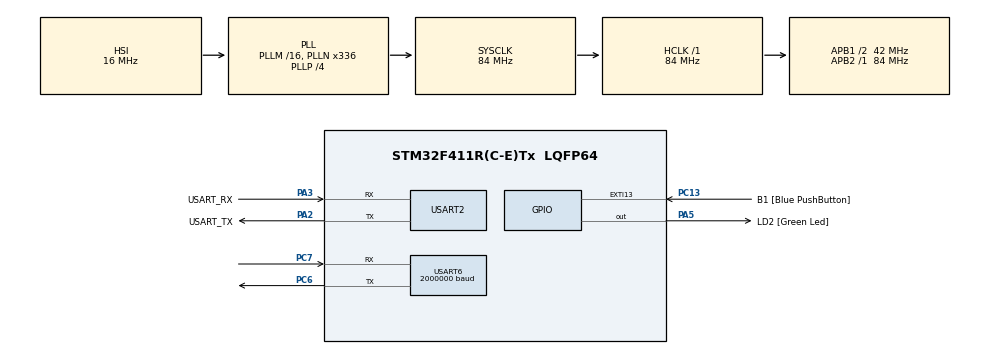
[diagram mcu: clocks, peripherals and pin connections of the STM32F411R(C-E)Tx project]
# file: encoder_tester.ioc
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Mcu.Family=STM32F4
Mcu.Name=STM32F411R(C-E)Tx
Mcu.Package=LQFP64
NVIC.PriorityGroup=NVIC_PRIORITYGROUP_0
PA13.GPIO_Label=TMS
PA13.Mode=Serial_Wire
PA13.Signal=SYS_JTMS-SWDIO
PA14.GPIO_Label=TCK
PA14.Mode=Serial_Wire
PA14.Signal=SYS_JTCK-SWCLK
PA2.GPIO_Label=USART_TX
PA2.Mode=Asynchronous
PA2.Signal=USART2_TX
PA3.GPIO_Label=USART_RX
PA3.Mode=Asynchronous
PA3.Signal=USART2_RX
PA5.GPIO_Label=LD2 [Green Led]
PA5.Signal=GPIO_Output
PB3.GPIO_Label=SWO
PB3.Signal=SYS_JTDO-SWO
PC13-ANTI_TAMP.GPIO_Label=B1 [Blue PushButton]
PC13-ANTI_TAMP.GPIO_ModeDefaultEXTI=GPIO_MODE_IT_FALLING
PC13-ANTI_TAMP.Signal=GPXTI13
PC14-OSC32_IN.Mode=LSE-External-Oscillator
PC14-OSC32_IN.Signal=RCC_OSC32_IN
PC15-OSC32_OUT.Mode=LSE-External-Oscillator
PC15-OSC32_OUT.Signal=RCC_OSC32_OUT
PC6.Mode=Asynchronous
PC6.Signal=USART6_TX
PC7.Mode=Asynchronous
PC7.Signal=USART6_RX
PH0\ -\ OSC_IN.Mode=HSE-External-Clock-Source
PH0\ -\ OSC_IN.Signal=RCC_OSC_IN
PH1\ -\ OSC_OUT.Mode=HSE-External-Clock-Source
PH1\ -\ OSC_OUT.Signal=RCC_OSC_OUT
ProjectManager.HeapSize=0x200
ProjectManager.StackSize=0x400
ProjectManager.TargetToolchain=STM32CubeIDE
RCC.48MHZClocksFreq_Value=84000000
RCC.AHBFreq_Value=84000000
RCC.APB1CLKDivider=RCC_HCLK_DIV2
RCC.APB1Freq_Value=42000000
RCC.APB1TimFreq_Value=84000000
RCC.APB2Freq_Value=84000000
RCC.APB2TimFreq_Value=84000000
RCC.CortexFreq_Value=84000000
RCC.FLatency-AdvancedSettings=FLASH_LATENCY_2
RCC.HCLKFreq_Value=84000000
RCC.HSE_VALUE=8000000
RCC.HSI_VALUE=16000000
RCC.PLLN=336
RCC.PLLP=RCC_PLLP_DIV4
RCC.SYSCLKFreq_VALUE=84000000
RCC.SYSCLKSource=RCC_SYSCLKSOURCE_PLLCLK
RCC.VCOOutputFreq_Value=336000000
USART2.VirtualMode=VM_ASYNC
USART6.BaudRate=2000000
USART6.VirtualMode=VM_ASYNC
board=NUCLEO-F411RE

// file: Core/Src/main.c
/* USER CODE BEGIN Header */
/**
  ******************************************************************************
  * @file           : main.c
  * @brief          : Main program body
  ******************************************************************************
  * @attention
  *
  * Copyright (c) 2022 STMicroelectronics.
  * All rights reserved.
  *
  * This software is licensed under terms that can be found in the LICENSE file
  * in the root directory of this software component.
  * If no LICENSE file comes with this software, it is provided AS-IS.
  *
  ******************************************************************************
  */
/* USER CODE END Header */
#include "main.h"

/* USER CODE BEGIN Includes */
#include "stdio.h"
#include "AMT21.h"
/* USER CODE END Includes */

UART_HandleTypeDef huart2;
UART_HandleTypeDef huart6;

void SystemClock_Config(void);
static void MX_GPIO_Init(void);
static void MX_USART2_UART_Init(void);
static void MX_USART6_UART_Init(void);

/* USER CODE BEGIN 0 */
#ifdef __GNUC__
/* With GCC, small printf (option LD Linker->Libraries->Small printf
 set to 'Yes') calls __io_putchar() */
#define PUTCHAR_PROTOTYPE int __io_putchar(int ch)
#else
#define PUTCHAR_PROTOTYPE int fputc(int ch, FILE *f)
#endif /* __GNUC__ */

PUTCHAR_PROTOTYPE {
  /* Place your implementation of fputc here */
  /* e.g. write a character to the EVAL_COM1 and Loop until the end of transmission */
  HAL_UART_Transmit(&huart2, (uint8_t *) &ch, 1, 1);

  return ch;
}
uint8_t data[2] = {0};
uint64_t err_count = 0;
/* USER CODE END 0 */

int main(void)
{

  /* MCU Configuration--------------------------------------------------------*/

  /* Reset of all peripherals, Initializes the Flash interface and the Systick. */
  HAL_Init();

  /* Configure the system clock */
  SystemClock_Config();

  /* Initialize all configured peripherals */
  MX_GPIO_Init();
  MX_USART2_UART_Init();
  MX_USART6_UART_Init();
  /* USER CODE BEGIN 2 */
  AMT21 encoder_1;
  AMT21_initialise(&encoder_1, &huart6, 0xF0, LD2_GPIO_Port, LD2_Pin);
  /* USER CODE END 2 */

  /* Infinite loop */
  /* USER CODE BEGIN WHILE */
  while (1)
  {
	  AMT21_read_value(&encoder_1);
	  HAL_StatusTypeDef rep = AMT21_check_value(&encoder_1);
	  if (rep == HAL_ERROR){
		  err_count++;
	  }
	  else {
		  printf("encoder value = %d %d\n", encoder_1.position, err_count);
	  }
    /* USER CODE END WHILE */

  }
}

void SystemClock_Config(void)
{
  RCC_OscInitTypeDef RCC_OscInitStruct = {0};
  RCC_ClkInitTypeDef RCC_ClkInitStruct = {0};

  /** Configure the main internal regulator output voltage
  */
  __HAL_RCC_PWR_CLK_ENABLE();
  __HAL_PWR_VOLTAGESCALING_CONFIG(PWR_REGULATOR_VOLTAGE_SCALE1);
  /** Initializes the RCC Oscillators according to the specified parameters
  * in the RCC_OscInitTypeDef structure.
  */
  RCC_OscInitStruct.OscillatorType = RCC_OSCILLATORTYPE_HSI;
  RCC_OscInitStruct.HSIState = RCC_HSI_ON;
  RCC_OscInitStruct.HSICalibrationValue = RCC_HSICALIBRATION_DEFAULT;
  RCC_OscInitStruct.PLL.PLLState = RCC_PLL_ON;
  RCC_OscInitStruct.PLL.PLLSource = RCC_PLLSOURCE_HSI;
  RCC_OscInitStruct.PLL.PLLM = 16;
  RCC_OscInitStruct.PLL.PLLN = 336;
  RCC_OscInitStruct.PLL.PLLP = RCC_PLLP_DIV4;
  RCC_OscInitStruct.PLL.PLLQ = 4;
  if (HAL_RCC_OscConfig(&RCC_OscInitStruct) != HAL_OK)
  {
    Error_Handler();
  }
  /** Initializes the CPU, AHB and APB buses clocks
  */
  RCC_ClkInitStruct.ClockType = RCC_CLOCKTYPE_HCLK|RCC_CLOCKTYPE_SYSCLK
                              |RCC_CLOCKTYPE_PCLK1|RCC_CLOCKTYPE_PCLK2;
  RCC_ClkInitStruct.SYSCLKSource = RCC_SYSCLKSOURCE_PLLCLK;
  RCC_ClkInitStruct.AHBCLKDivider = RCC_SYSCLK_DIV1;
  RCC_ClkInitStruct.APB1CLKDivider = RCC_HCLK_DIV2;
  RCC_ClkInitStruct.APB2CLKDivider = RCC_HCLK_DIV1;

  if (HAL_RCC_ClockConfig(&RCC_ClkInitStruct, FLASH_LATENCY_2) != HAL_OK)
  {
    Error_Handler();
  }
}

static void MX_USART2_UART_Init(void)
{

  huart2.Instance = USART2;
  huart2.Init.BaudRate = 115200;
  huart2.Init.WordLength = UART_WORDLENGTH_8B;
  huart2.Init.StopBits = UART_STOPBITS_1;
  huart2.Init.Parity = UART_PARITY_NONE;
  huart2.Init.Mode = UART_MODE_TX_RX;
  huart2.Init.HwFlowCtl = UART_HWCONTROL_NONE;
  huart2.Init.OverSampling = UART_OVERSAMPLING_16;
  if (HAL_UART_Init(&huart2) != HAL_OK)
  {
    Error_Handler();
  }

}

static void MX_USART6_UART_Init(void)
{

  huart6.Instance = USART6;
  huart6.Init.BaudRate = 2000000;
  huart6.Init.WordLength = UART_WORDLENGTH_8B;
  huart6.Init.StopBits = UART_STOPBITS_1;
  huart6.Init.Parity = UART_PARITY_NONE;
  huart6.Init.Mode = UART_MODE_TX_RX;
  huart6.Init.HwFlowCtl = UART_HWCONTROL_NONE;
  huart6.Init.OverSampling = UART_OVERSAMPLING_16;
  if (HAL_UART_Init(&huart6) != HAL_OK)
  {
    Error_Handler();
  }

}

static void MX_GPIO_Init(void)
{
  GPIO_InitTypeDef GPIO_InitStruct = {0};

  /* GPIO Ports Clock Enable */
  __HAL_RCC_GPIOC_CLK_ENABLE();
  __HAL_RCC_GPIOH_CLK_ENABLE();
  __HAL_RCC_GPIOA_CLK_ENABLE();
  __HAL_RCC_GPIOB_CLK_ENABLE();

  /*Configure GPIO pin Output Level */
  HAL_GPIO_WritePin(LD2_GPIO_Port, LD2_Pin, GPIO_PIN_RESET);

  /*Configure GPIO pin : B1_Pin */
  GPIO_InitStruct.Pin = B1_Pin;
  GPIO_InitStruct.Mode = GPIO_MODE_IT_FALLING;
  GPIO_InitStruct.Pull = GPIO_NOPULL;
  HAL_GPIO_Init(B1_GPIO_Port, &GPIO_InitStruct);

  /*Configure GPIO pin : LD2_Pin */
  GPIO_InitStruct.Pin = LD2_Pin;
  GPIO_InitStruct.Mode = GPIO_MODE_OUTPUT_PP;
  GPIO_InitStruct.Pull = GPIO_NOPULL;
  GPIO_InitStruct.Speed = GPIO_SPEED_FREQ_LOW;
  HAL_GPIO_Init(LD2_GPIO_Port, &GPIO_InitStruct);

}

void Error_Handler(void)
{
  __disable_irq();
  while (1)
  {
  }
}
